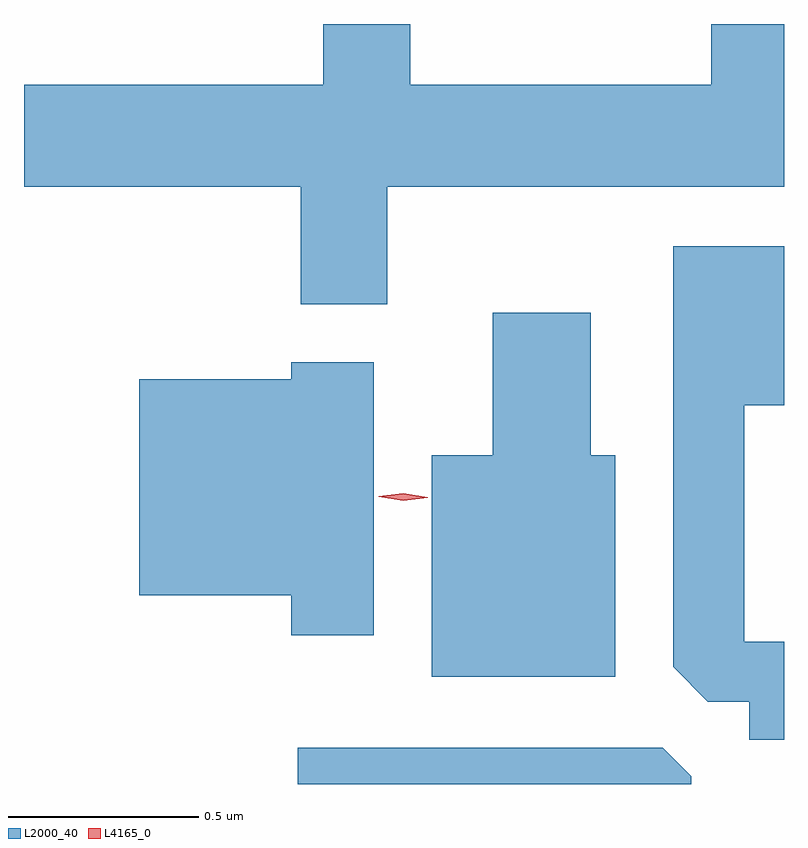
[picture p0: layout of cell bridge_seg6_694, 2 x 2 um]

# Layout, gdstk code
import gdstk
lib = gdstk.Library(unit=1e-6, precision=1e-09)
def P(c, l, *ps):  # polygons
    for p in ps: c.add(gdstk.Polygon(p, *l))
L2000_40 = (2000, 40)
L4165_0 = (4165, 0)

bridge_seg6_694 = lib.new_cell('bridge_seg6_694')
P(bridge_seg6_694, L2000_40, [(268.089,1638.836),(269.133,1638.836),(269.133,1639.264),(268.941,1639.264),(268.941,1639.104),(268.149,1639.104),(268.149,1639.264),(267.921,1639.264),(267.921,1639.104),(267.133,1639.104),(267.133,1638.836),(267.861,1638.836),(267.861,1638.526),(268.089,1638.526)],
  [(269.133,1637.639),(269.029,1637.639),(269.029,1638.261),(269.133,1638.261),(269.133,1638.679),(268.841,1638.679),(268.841,1637.572),(268.932,1637.481),(269.041,1637.481),(269.041,1637.381),(269.133,1637.381)],
  [(268.689,1638.129),(268.624,1638.129),(268.624,1638.504),(268.366,1638.504),(268.366,1638.129),(268.206,1638.129),(268.206,1637.546),(268.689,1637.546)],
  [(268.054,1638.374),(267.836,1638.374),(267.836,1638.329),(267.436,1638.329),(267.436,1637.761),(267.836,1637.761),(267.836,1637.656),(268.054,1637.656)],
  [(268.889,1637.284),(268.814,1637.359),(267.853,1637.359),(267.853,1637.264),(268.889,1637.264)])
P(bridge_seg6_694, L4165_0, [(268.131,1638.009),(268.066,1638.02),(268.066,1638.021),(268.066,1638.021),(268.131,1638.029),(268.196,1638.018),(268.196,1638.017),(268.196,1638.017)])

lib.write_gds('bridge_seg6_694.gds')
